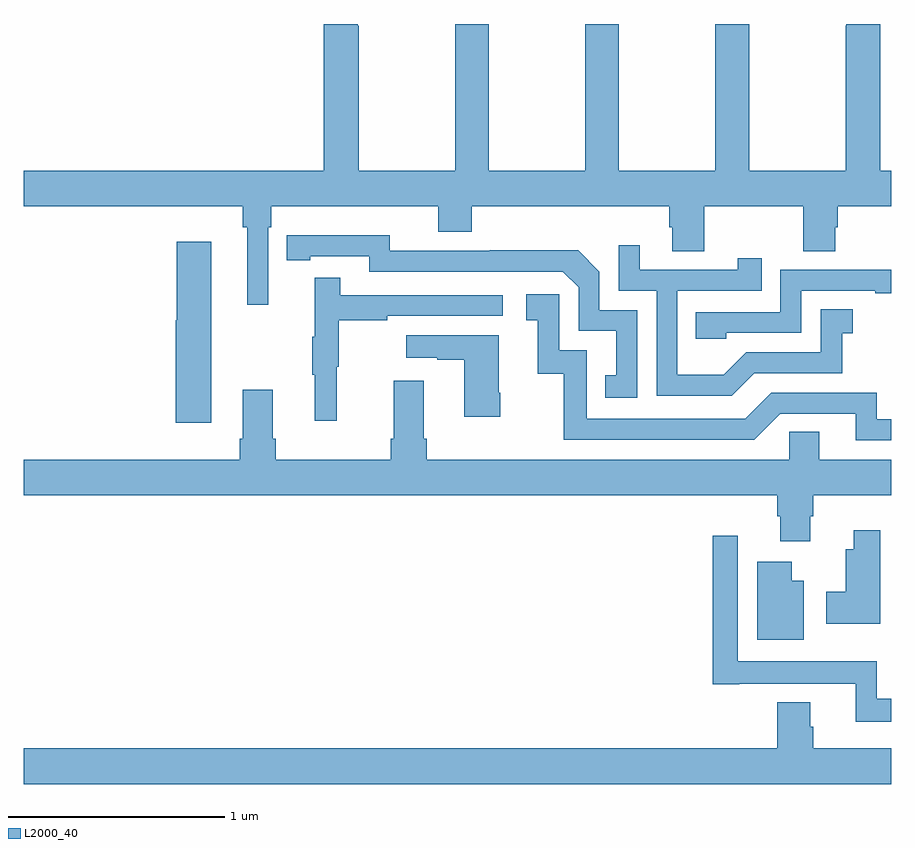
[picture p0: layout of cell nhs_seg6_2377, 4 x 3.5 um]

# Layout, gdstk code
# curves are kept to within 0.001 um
import gdstk
lib = gdstk.Library(unit=1e-6, precision=1e-09)
def P(c, l, *ps):  # polygons
    for p in ps: c.add(gdstk.Polygon(p, *l))
L2000_40 = (2000, 40)

nhs_seg6_2377 = lib.new_cell('nhs_seg6_2377')
P(nhs_seg6_2377, L2000_40, [(254.127,956.564),(254.141,956.564),(254.141,956.66),(254.912,956.66),(254.912,956.543),(255.065,956.543),(255.065,956.66),(255.977,956.66),(255.977,956.562),(255.989,956.562),(255.989,956.452),(256.137,956.452),(256.137,956.66),(256.594,956.66),(256.594,956.452),(256.741,956.452),(256.741,956.562),(256.754,956.562),(256.754,956.66),(257,956.66),(257,956.824),(256.949,956.824),(256.949,957.5),(256.793,957.5),(256.793,957.491),(256.789,957.491),(256.789,956.824),(256.344,956.824),(256.344,957.5),(256.189,957.5),(256.189,956.824),(255.744,956.824),(255.744,957.5),(255.589,957.5),(255.589,956.824),(255.144,956.824),(255.144,957.5),(254.989,957.5),(254.989,956.824),(254.544,956.824),(254.544,957.491),(254.539,957.491),(254.539,957.5),(254.384,957.5),(254.384,956.824),(253,956.824),(253,956.66),(254.011,956.66),(254.011,956.564),(254.03,956.564),(254.03,956.205),(254.127,956.205)],
  [(255.828,956.181),(255.654,956.181),(255.654,956.358),(255.556,956.456),(255.148,956.456),(255.148,956.454),(254.688,956.454),(254.688,956.527),(254.212,956.526),(254.212,956.41),(254.32,956.41),(254.32,956.43),(254.592,956.43),(254.592,956.358),(255.486,956.358),(255.558,956.286),(255.558,956.085),(255.731,956.085),(255.731,955.881),(255.682,955.881),(255.682,955.776),(255.828,955.776)],
  [(253.864,956.497),(253.706,956.497),(253.706,956.133),(253.7,956.133),(253.7,955.662),(253.864,955.662)],
  [(256.369,955.89),(256.773,955.89),(256.773,956.075),(256.822,956.075),(256.822,956.185),(256.674,956.185),(256.674,955.986),(256.332,955.986),(256.228,955.882),(256.014,955.882),(256.014,956.271),(256.403,956.271),(256.403,956.419),(256.292,956.419),(256.292,956.367),(255.841,956.367),(255.841,956.479),(255.744,956.479),(255.744,956.271),(255.918,956.271),(255.918,955.785),(256.264,955.785)],
  [(256.239,956.076),(256.584,956.076),(256.584,956.271),(256.925,956.271),(256.925,956.259),(257,956.259),(257,956.367),(256.488,956.367),(256.488,956.172),(256.099,956.172),(256.099,956.049),(256.239,956.049)],
  [(254.444,955.92),(254.452,955.92),(254.452,956.134),(254.675,956.134),(254.675,956.154),(255.208,956.154),(255.208,956.25),(254.459,956.25),(254.459,956.329),(254.342,956.329),(254.342,956.057),(254.331,956.057),(254.331,955.883),(254.342,955.883),(254.342,955.671),(254.444,955.671)],
  [(257,955.677),(256.932,955.677),(256.932,955.8),(256.446,955.8),(256.326,955.68),(255.597,955.68),(255.597,955.995),(255.468,955.995),(255.468,956.254),(255.318,956.254),(255.318,956.133),(255.371,956.133),(255.371,955.887),(255.489,955.887),(255.489,955.584),(256.368,955.584),(256.488,955.704),(256.835,955.704),(256.835,955.581),(257,955.581)],
  [(255.198,955.801),(255.19,955.801),(255.19,956.065),(254.763,956.065),(254.763,955.961),(254.906,955.961),(254.906,955.951),(255.032,955.951),(255.032,955.689),(255.198,955.689)],
  [(256.627,955.23),(256.64,955.23),(256.64,955.328),(257,955.328),(257,955.492),(256.669,955.492),(256.669,955.619),(256.53,955.619),(256.53,955.492),(254.858,955.492),(254.858,955.588),(254.845,955.588),(254.845,955.855),(254.705,955.855),(254.705,955.588),(254.693,955.588),(254.693,955.492),(254.162,955.492),(254.162,955.588),(254.149,955.588),(254.149,955.813),(254.009,955.813),(254.009,955.588),(253.997,955.588),(253.997,955.492),(253,955.492),(253,955.328),(256.475,955.328),(256.475,955.23),(256.487,955.23),(256.487,955.116),(256.627,955.116)],
  [(256.948,955.165),(256.826,955.165),(256.826,955.078),(256.79,955.078),(256.79,954.882),(256.701,954.882),(256.701,954.734),(256.948,954.734)],
  [(257,954.388),(256.932,954.388),(256.932,954.562),(256.293,954.562),(256.293,955.141),(256.177,955.141),(256.177,954.456),(256.3,954.456),(256.3,954.458),(256.835,954.458),(256.835,954.284),(257,954.284)],
  [(256.597,954.934),(256.54,954.934),(256.54,955.021),(256.382,955.021),(256.382,954.662),(256.597,954.662)],
  [(257,954.16),(256.64,954.16),(256.64,954.261),(256.627,954.261),(256.627,954.373),(256.475,954.373),(256.475,954.16),(253,954.16),(253,953.996),(257,953.996)])

lib.write_gds('nhs_seg6_2377.gds')
